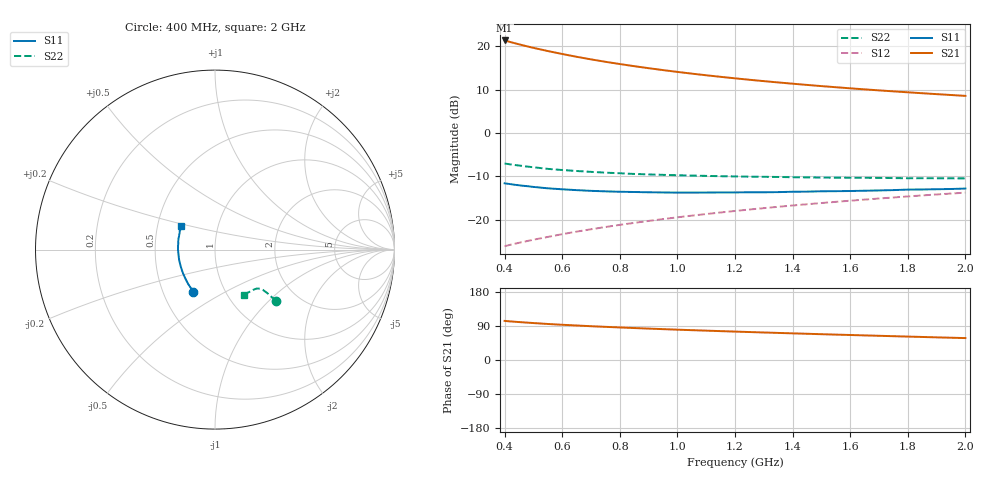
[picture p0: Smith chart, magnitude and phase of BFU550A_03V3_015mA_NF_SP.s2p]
! Filename:  P:\Prog\Test\Noise\ATS_data\Testdata_Net\06 Compressed Noise after Statistics\BFU550A_APG2013_35_C05_03p3V_015mA_NF_CM01_D.sf
! Date/Time: Tue 16/Apr/2013 15:11:26
! BFU550A_APG2013_35_C05_03p3V_1to35mA_NF_CM01_Bias6_R.sf
! Noise Parameter Data File
! BFU550A_APG2013_35_C05_03p3V_1to35mA_NF_CM01
! Date/time: Mon Apr 15 15:23:40 2013
! VAR V_out= 3.300000
! VAR I_out= 15.000000
! VAR V_in= 0.843400
! VAR I_in= 0.166000
! Device data file deembeded for feedlines and parallel
! Original file: \06 Compressed Noise after Statistics\BFU550A_APG2013_35_C05_03p3V_015mA_NF_CM01_R.sf
! Feed-files: PR017V01_150413_Feed1.s2p, PR017V01_150413_Feed2.s2p
! Parallel-file: PR017V01_150413_Par.s2p
# MHz S MA R 50
!  Freq-MHz  S11-mag  S11-arg  S21-mag  S21-arg  S12-mag  S12-arg  S22-mag  S22-arg
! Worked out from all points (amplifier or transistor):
!   37 points, 400 MHz to 2 GHz, reference 50 ohm
!   highest |S21| = 21.4 dB at 400 MHz (marker M1)
!   |S21| within 3 dB of that: start of sweep to 590.5 MHz
!   unconditionally stable (mu >= 1): 1.079 GHz to end of sweep
!   at 500 MHz: K = 0.89, MSG = 22.2 dB, |S12| = -24.6 dB
!   at 1.1 GHz: K = 1.00, MAG = 15.8 dB, |S12| = -18.7 dB
!   at 2 GHz: K = 1.00, MAG = 10.9 dB, |S12| = -13.8 dB
!   lowest NFmin = 0.90 dB at 420 MHz
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400  0.2626 -117.2  11.73 103.1  0.0494 68.5  0.4448 -39.8
420  0.2572 -120.0  11.25 101.8  0.05127 68.7  0.4346 -39.9
440  0.2516 -122.9  10.8 100.7  0.0531 68.8  0.4256 -39.9
460  0.247 -125.3  10.38 99.6  0.05497 69.1  0.4175 -39.9
500  0.2388 -130.3  9.637 97.5  0.05862 69.4  0.4027 -39.9
550  0.2301 -136.2  8.855 95.1  0.06318 69.8  0.3859 -39.8
600  0.2241 -141.2  8.182 93.0  0.06796 70.1  0.3745 -39.8
650  0.2191 -146.1  7.599 91.0  0.0727 70.4  0.3647 -39.9
700  0.2151 -150.4  7.096 89.2  0.07746 70.6  0.3563 -40.0
750  0.2122 -154.6  6.652 87.5  0.08221 70.8  0.349 -40.1
800  0.2099 -158.3  6.266 85.9  0.08701 70.8  0.3434 -40.4
850  0.2086 -162.2  5.921 84.3  0.0918 70.9  0.3372 -40.6
900  0.207 -165.8  5.611 82.9  0.09666 70.9  0.3328 -40.9
950  0.2061 -168.9  5.335 81.5  0.1015 70.9  0.3292 -41.4
1050  0.2052 -174.9  4.855 78.7  0.1112 70.7  0.3228 -42.2
1100  0.2056 -177.8  4.649 77.5  0.1161 70.6  0.3202 -42.7
1200  0.2062 176.9  4.285 75.0  0.1259 70.3  0.3156 -43.9
1350  0.2079 169.8  3.841 71.5  0.1407 69.6  0.3109 -45.9
1500  0.2126 163.1  3.486 68.1  0.1555 68.9  0.3061 -48.1
1600  0.2141 159.2  3.286 66.0  0.1655 68.3  0.3048 -49.7
1750  0.2194 153.7  3.03 62.8  0.1803 67.3  0.3021 -52.2
2000  0.2286 145.7  2.688 57.8  0.2051 65.5  0.2997 -57.0
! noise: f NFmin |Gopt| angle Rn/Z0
400  0.9435  0.1789  -167.1  0.0858
460  0.9241  0.1956  -169.4  0.0771
600  1.007  0.176  -161  0.0937
800  0.9725  0.2246  -158.9  0.0777
1000  0.9985  0.2374  -157.7  0.0758
1200  1.03  0.2535  -150  0.0803
1400  1.078  0.2557  -147.6  0.0855
1600  1.072  0.2935  -139.2  0.0876
1800  1.138  0.2983  -137.8  0.0836
2000  1.129  0.3135  -132.7  0.0941
